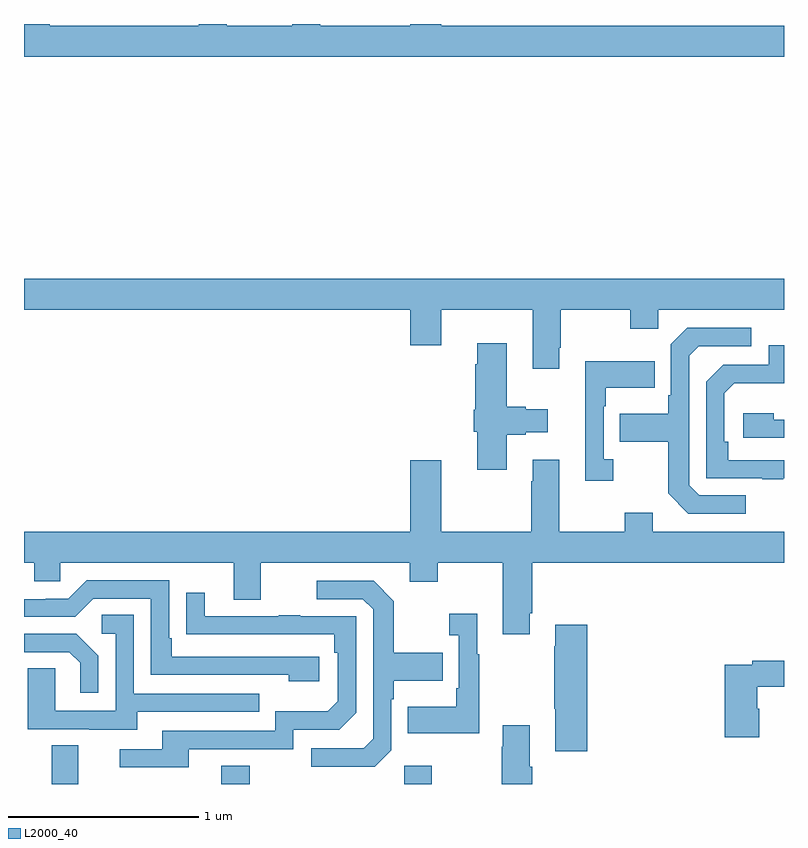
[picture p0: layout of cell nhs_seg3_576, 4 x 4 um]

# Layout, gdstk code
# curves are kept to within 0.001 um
import gdstk
lib = gdstk.Library(unit=1e-6, precision=1e-09)
def R(c, l, rs):  # rectangles x0, y0, x1, y1
    for r in rs: c.add(gdstk.rectangle(r[:2], r[2:], *l))
def P(c, l, *ps):  # polygons
    for p in ps: c.add(gdstk.Polygon(p, *l))
L2000_40 = (2000, 40)

nhs_seg3_576 = lib.new_cell('nhs_seg3_576')
R(nhs_seg3_576, L2000_40, [(139.145,718.4,139.285,718.604), (140.039,718.4,140.187,718.495), (141,718.4,141.147,718.495)])
P(nhs_seg3_576, L2000_40, [(143,722.392),(141.196,722.392),(141.196,722.4),(141.032,722.4),(141.032,722.392),(140.559,722.392),(140.559,722.4),(140.411,722.4),(140.411,722.392),(140.067,722.392),(140.067,722.4),(139.919,722.4),(139.919,722.392),(139.135,722.392),(139.135,722.4),(139,722.4),(139,722.228),(143,722.228)],
  [(141.817,720.697),(141.825,720.697),(141.825,720.896),(142.192,720.896),(142.192,720.797),(142.338,720.797),(142.338,720.896),(143,720.896),(143,721.06),(139,721.06),(139,720.896),(141.032,720.896),(141.032,720.708),(141.196,720.708),(141.196,720.896),(141.677,720.896),(141.677,720.585),(141.817,720.585)],
  [(142.798,719.919),(142.554,719.919),(142.5,719.973),(142.5,720.654),(142.551,720.705),(142.828,720.705),(142.828,720.801),(142.491,720.801),(142.404,720.714),(142.404,720.445),(142.392,720.445),(142.392,720.349),(142.135,720.349),(142.135,720.202),(142.392,720.202),(142.392,719.929),(142.497,719.823),(142.798,719.823)],
  [(141.541,720.239),(141.641,720.239),(141.641,720.251),(141.757,720.251),(141.757,720.373),(141.641,720.373),(141.641,720.386),(141.541,720.386),(141.541,720.721),(141.386,720.721),(141.386,720.608),(141.374,720.608),(141.374,720.369),(141.368,720.369),(141.368,720.255),(141.386,720.255),(141.386,720.054),(141.541,720.054)],
  [(142.997,720.009),(143,720.009),(143,720.105),(142.706,720.105),(142.706,720.202),(142.686,720.202),(142.686,720.456),(142.739,720.509),(143,720.509),(143,720.708),(142.92,720.708),(142.92,720.606),(142.68,720.606),(142.59,720.516),(142.59,720.009),(142.885,720.009),(142.885,720.004),(142.997,720.004)],
  [(142.102,720.11),(142.05,720.11),(142.05,720.389),(142.063,720.389),(142.063,720.485),(142.319,720.485),(142.319,720.625),(141.953,720.625),(141.953,719.997),(142.102,719.997)],
  [(143,720.318),(142.946,720.318),(142.946,720.352),(142.785,720.352),(142.785,720.222),(143,720.222)],
  [(141.661,719.299),(141.674,719.299),(141.674,719.564),(143,719.564),(143,719.728),(142.309,719.728),(142.309,719.827),(142.162,719.827),(142.162,719.728),(141.817,719.728),(141.817,720.106),(141.677,720.106),(141.677,719.993),(141.67,719.993),(141.67,719.728),(141.196,719.728),(141.196,720.103),(141.032,720.103),(141.032,719.728),(139,719.728),(139,719.564),(139.053,719.564),(139.053,719.466),(139.191,719.466),(139.191,719.564),(140.105,719.564),(140.105,719.37),(140.245,719.37),(140.245,719.564),(141.029,719.564),(141.029,719.465),(141.177,719.465),(141.177,719.564),(141.521,719.564),(141.521,719.187),(141.661,719.187)],
  [(140.554,719.07),(139.777,719.07),(139.777,719.167),(139.764,719.167),(139.764,719.472),(139.329,719.472),(139.233,719.376),(139.115,719.376),(139.115,719.373),(139,719.373),(139,719.28),(139.269,719.28),(139.365,719.376),(139.668,719.376),(139.668,718.974),(140.393,718.974),(140.393,718.94),(140.554,718.94)],
  [(140.934,718.578),(140.934,718.847),(140.947,718.847),(140.947,718.943),(141.203,718.943),(141.203,719.091),(140.947,719.091),(140.947,719.363),(140.841,719.469),(140.541,719.469),(140.541,719.373),(140.784,719.373),(140.838,719.319),(140.838,718.638),(140.787,718.587),(140.511,718.587),(140.511,718.491),(140.847,718.491)],
  [(139.867,718.584),(140.418,718.584),(140.418,718.686),(140.658,718.686),(140.748,718.776),(140.748,719.283),(140.453,719.283),(140.453,719.288),(140.341,719.288),(140.341,719.283),(139.951,719.283),(139.951,719.407),(139.855,719.407),(139.855,719.188),(140.632,719.187),(140.632,719.09),(140.652,719.09),(140.652,718.836),(140.599,718.783),(140.322,718.783),(140.322,718.68),(139.727,718.68),(139.727,718.584),(139.503,718.584),(139.503,718.488),(139.867,718.488)],
  [(141.397,719.083),(141.385,719.083),(141.385,719.296),(141.237,719.296),(141.237,719.183),(141.288,719.183),(141.288,718.903),(141.276,718.903),(141.276,718.807),(141.019,718.807),(141.019,718.667),(141.397,718.667)],
  [(139.597,718.779),(140.237,718.779),(140.237,718.875),(139.578,718.875),(139.578,719.291),(139.41,719.291),(139.41,719.19),(139.482,719.19),(139.482,718.785),(139.164,718.785),(139.164,719.009),(139.019,719.009),(139.019,718.689),(139.343,718.689),(139.343,718.685),(139.597,718.685)],
  [(141.965,719.239),(141.797,719.239),(141.797,719.126),(141.79,719.126),(141.79,718.795),(141.797,718.795),(141.797,718.572),(141.965,718.572)],
  [(139.392,719.074),(139.276,719.19),(139,719.19),(139,719.094),(139.238,719.094),(139.295,719.037),(139.295,718.881),(139.392,718.881)],
  [(142.871,718.797),(142.858,718.797),(142.858,718.912),(143,718.912),(143,719.048),(142.834,719.048),(142.834,719.028),(142.688,719.028),(142.688,718.647),(142.871,718.647)],
  [(141.674,718.492),(141.661,718.492),(141.661,718.708),(141.521,718.708),(141.521,718.595),(141.514,718.595),(141.514,718.4),(141.674,718.4)])

lib.write_gds('nhs_seg3_576.gds')
